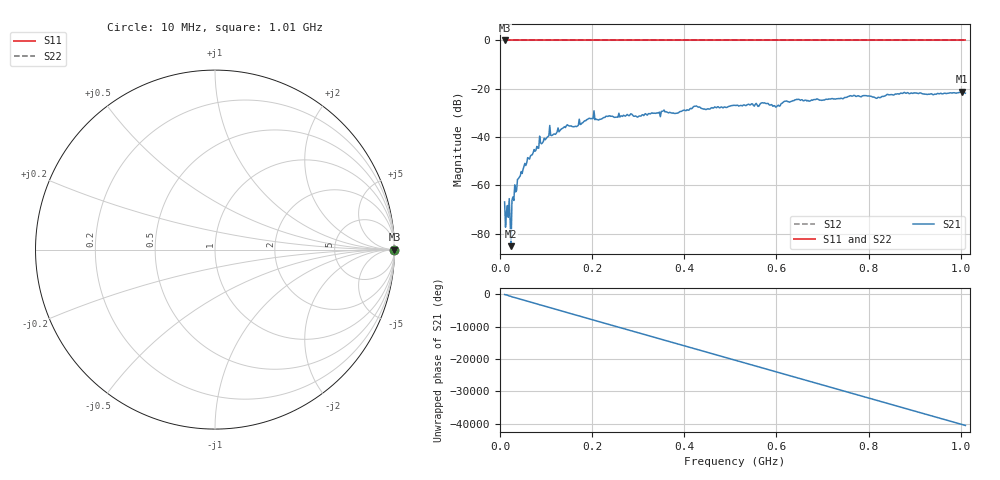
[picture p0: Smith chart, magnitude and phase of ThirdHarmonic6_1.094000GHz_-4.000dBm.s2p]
! 8/16/2025 10:12:14 AM
! C:\ANRITSUVNA\TEMP\TEMP.S2P
! CHANNEL.1
! TR.MEASUREMENT
! RAW.DATA
! RF.CORRECTION.OFF
! AVERAGING.OFF
! IF.BANDWIDTH: 5KHZ
! SWEEPTYPE:  FREQ.SWEEP(Linear)
! Reference Plane Port Info
! PORT:  PORT1  PORT2
! DISTANCE:  0  m  0  m
! TIME:  0  s  0  s
! PHASE.OFFSET:  0  deg.  0  deg.
! LOSS:  0  dB  0  dB
! REF.LOSS:  0  dB  0  dB
! REF.FREQ:  0  Hz  0  Hz
! Power Info
! POWER:  -20  dBm  -20  dBm
! EFF.POWER:  -20  dBm  -20  dBm
! SOURCE.ATTEN:  0  dB  0  dB
! TEST.ATTEN:  0  dB  0  dB
# GHZ S RI R 50.0
! FREQ.GHZ  S11RE  S11IM  S21RE  S21IM  S12RE  S12IM  S22RE  S22IM
!; PortSelection: Port_12
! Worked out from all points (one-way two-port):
!   501 points, 10 MHz to 1.01 GHz, reference 50 ohm
!   highest |S21| = -21.25 dB at 1.002 GHz (marker M1); lowest = -85.1 dB at 24 MHz (marker M2)
!   lowest |S11| = 0.0 dB at 10 MHz (marker M3)
!   |S11| at or under -10 dB: nowhere
!   |S22| runs from 0.0 to 0.0 dB; largest |S21 - S12| = 1.1
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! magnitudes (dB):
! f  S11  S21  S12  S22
! 10 MHz  0.0  -66.8  0.0  0.0
! 18 MHz  0.0  -73.2  0.0  0.0
! 20 MHz  0.0  -65.5  0.0  0.0
! 24 MHz  0.0  -85.1  0.0  0.0
! 26 MHz  0.0  -66.0  0.0  0.0
! 30 MHz  0.0  -66.2  0.0  0.0
! 42 MHz  0.0  -56.6  0.0  0.0
! 84 MHz  0.0  -44.6  0.0  0.0
! 106 MHz  0.0  -39.5  0.0  0.0
! 178 MHz  0.0  -34.2  0.0  0.0
! 200 MHz  0.0  -32.3  0.0  0.0
! 344 MHz  0.0  -30.0  0.0  0.0
! 384 MHz  0.0  -30.1  0.0  0.0
! 424 MHz  0.0  -27.2  0.0  0.0
! 450 MHz  0.0  -28.3  0.0  0.0
! 510 MHz  0.0  -26.8  0.0  0.0
! 602 MHz  0.0  -27.0  0.0  0.0
! 620 MHz  0.0  -25.1  0.0  0.0
! 678 MHz  0.0  -24.8  0.0  0.0
! 844 MHz  0.0  -22.5  0.0  0.0
! 1.002 GHz  0.0  -21.2  0.0  0.0
! 1.01 GHz  0.0  -21.8  0.0  0.0
